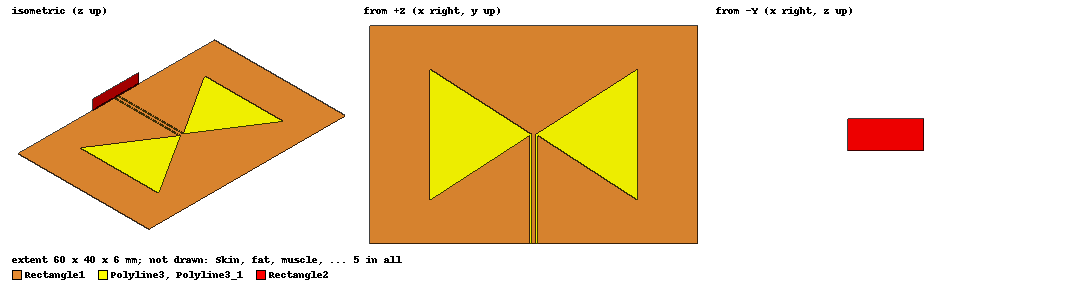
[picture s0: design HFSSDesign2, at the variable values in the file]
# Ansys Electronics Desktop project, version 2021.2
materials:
  vacuum: permittivity=1
  Antenae_diel: permittivity=2.4
  fat_2.45GHz: permittivity=5.3 conductivity=10
  mucle_2.45GHz: permittivity=54.4 conductivity=1.74
  pec: conductivity=1e+30
  skin_2.45GHz: permittivity=38 conductivity=1.46
  Arlon AD450 (tm): permittivity=4.5 dielectric_loss_tangent=0.0035

design HFSSDesign2 (HFSS, DrivenModal, model units mm)
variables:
  skin_t = 2mm
  fat_t = 10mm
  muscle_t = 28mm
  ant_l = 19mm
  phantom_x = 60mm
  phantom_y = 40mm
  sub_t = 60mil
  feed_w = 0.9mm
  feed_s = 0.2mm
  ant_w = 24mm
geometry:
  Skin [skin_2.45GHz] = box(corner=(-phantom_x/2, -phantom_y/2, -sub_t), size=(phantom_x, phantom_y, -skin_t))
  fat [fat_2.45GHz] = box(corner=(-phantom_x/2, -phantom_y/2, -skin_t -sub_t), size=(phantom_x, phantom_y, -fat_t))
  muscle [mucle_2.45GHz] = box(corner=(-phantom_x/2, -phantom_y/2, -skin_t - sub_t-fat_t), size=(phantom_x, phantom_y, -muscle_t))
  AIR [vacuum] = box(corner=(-phantom_x/2, -phantom_y/2, 0), size=(phantom_x, phantom_y, 40mm))
  substrate [Arlon AD450 (tm)] = box(corner=(-phantom_x/2, -phantom_y/2, 0), size=(phantom_x, phantom_y, -sub_t))
  Rectangle1 = rectangle(corner=(-phantom_x/2, -phantom_y/2, 0mm), x_size=phantom_x, y_size=phantom_y)
  Polyline3 = polyline(z=0mm, xy: (feed_w/2+feed_s, -phantom_y/2) (feed_w/2+feed_s, -feed_s/2) (ant_l, -ant_w/2) (ant_l, ant_w/2) (feed_w/2, feed_s/2) (feed_w/2, -phantom_y/2) (feed_w/2+feed_s, -phantom_y/2), closed, covered)
  Polyline3_1 = Polyline3.duplicate_mirror(point=(0mm, 0mm, 0mm), normal=(-1mm, 0mm, 0mm))
  Polyline3_2 = Polyline3.copy()
  Polyline3_1_1 = Polyline3_1.copy()
  Rectangle1.subtract(Polyline3_2, Polyline3_1_1)
  Rectangle2 = rectangle(corner=(-7mm, -phantom_y/2, -3mm), z_size=6mm, x_size=14mm)
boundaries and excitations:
  Rad1: Radiation Faces=muscle.face(-z, -y, -x, +y, +x) fat.face(-y, -x, +y, +x) Skin.face(-y, -x, +y, +x) substrate.face(-y, -x, +y, +x) AIR.face(-y, -x, +y, +x)
  Rad2: Radiation Faces=AIR.face(+z)
  PerfE1: Perfect E Objects=Rectangle1
  1: Wave Port Faces=Rectangle2.face NumModes=1 Modes{Mode1{IntLine{middle of Rectangle1.edge(at (0, -20, 0)) -> middle of Rectangle2.edge(x opposite corner)} CharImp=Zpi}}
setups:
  Setup1: HfssDriven Frequency=2.45GHz MaxDeltaS=0.02 MaximumPasses=8 MinimumPasses=1 MinimumConvergedPasses=1 PercentRefinement=30 BasisOrder=1 PortAccuracy=2
    sweep Sweep: 1.4GHz to 3.4GHz, 21 points; Type=Interpolating InterpTolerance=0.5 InterpMaxSolns=250 InterpUsePortImped=false PassivityErrorTolerance=0.0001
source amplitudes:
  1:1: 1W 0deg
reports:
  S Parameter Plot 1: dB(S(1,1)) vs Freq on Setup1 : Sweep
  Z Parameter Plot 1: re(Zo(1:1)) vs Freq on Setup1 : Sweep
